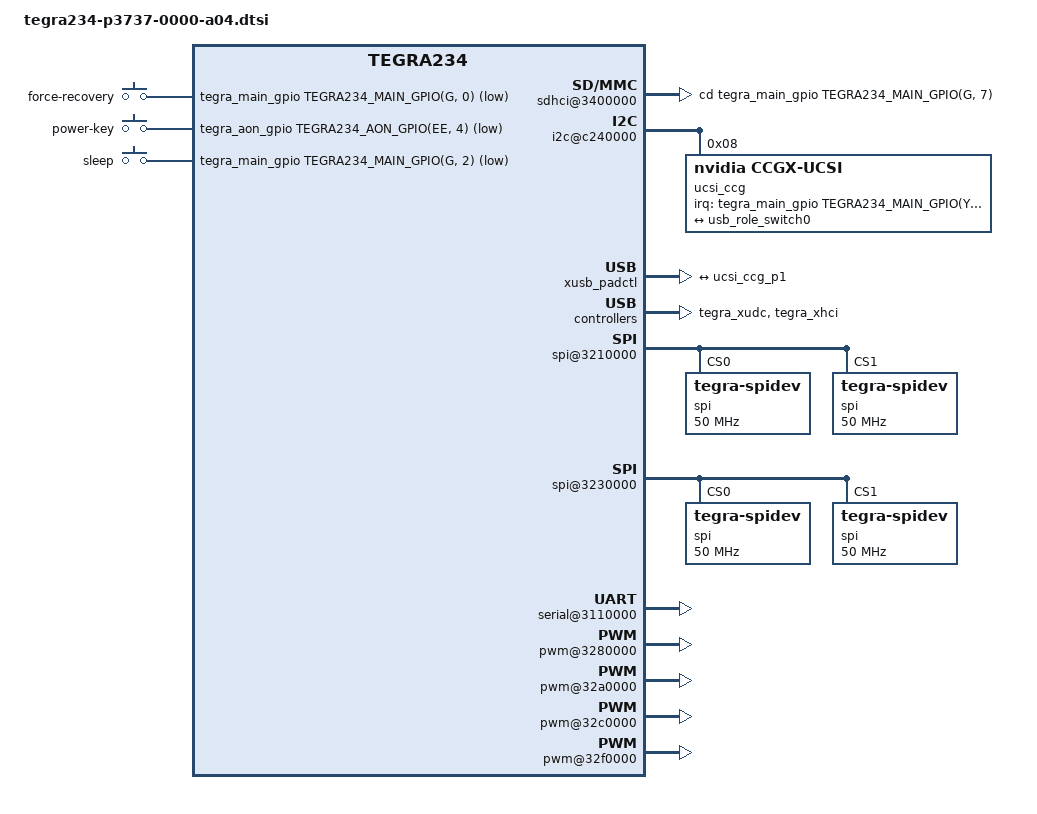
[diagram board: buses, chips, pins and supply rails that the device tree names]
/*
 * Copyright (c) 2021-2022, NVIDIA CORPORATION.  All rights reserved.
 *
 * This program is free software; you can redistribute it and/or modify
 * it under the terms of the GNU General Public License as published by
 * the Free Software Foundation; version 2 of the License.
 *
 * This program is distributed in the hope that it will be useful, but WITHOUT
 * ANY WARRANTY; without even the implied warranty of MERCHANTABILITY or
 * FITNESS FOR A PARTICULAR PURPOSE.  See the GNU General Public License for
 * more details.
 */
#include <dt-bindings/gpio/tegra234-gpio.h>
#include "dt-bindings/input/input.h"
#include "tegra234-pwm-fan.dtsi"
#include "tegra234-p3737-audio.dtsi"
#include "tegra234-p3737-fixed-regulator.dtsi"
#include "tegra234-ethernet-3737-0000.dtsi"
#include "tegra234-p3737-pcie.dtsi"
#include "tegra234-p3737-super-module-e2614.dtsi"

/ {
	gpio-keys {
		compatible = "gpio-keys";
		gpio-keys,name = "gpio-keys";
		status = "okay";

		forcerecovery {
			label = "force-recovery";
			gpios = <&tegra_main_gpio TEGRA234_MAIN_GPIO(G, 0) GPIO_ACTIVE_LOW>;
			linux,code = <BTN_1>;
		};

		power_key {
			label = "power-key";
			gpios = <&tegra_aon_gpio TEGRA234_AON_GPIO(EE, 4) GPIO_ACTIVE_LOW>;
			linux,code = <KEY_POWER>;
			gpio-key,wakeup;
		};

		sleep {
			label = "sleep";
			gpios = <&tegra_main_gpio TEGRA234_MAIN_GPIO(G, 2) GPIO_ACTIVE_LOW>;
			linux,code = <KEY_SLEEP>;
		};
	};

	soft_wdt:soft_watchdog {
		compatible = "softdog-platform";
		status = "okay";
	};

	eeprom-manager {
		data-size = <0x100>;
		bus@0 {
			i2c-bus = <&gen1_i2c>;
			eeprom@1 {
				slave-address = <0x56>;
				label = "cvb";
			};
		};

		bus@1 {
			i2c-bus = <&gen2_i2c>;
			eeprom@1 {
				slave-address = <0x50>;
				label = "super-module";
			};
		};

		bus@2 {
			i2c-bus = <&cam_i2c>;
			eeprom@0 {
				slave-address = <0x54>;
				label = "sensor0";
			};
			eeprom@1 {
				slave-address = <0x57>;
				label = "sensor1";
			};
			eeprom@2 {
				slave-address = <0x52>;
				label = "sensor2";
			};
		};

	};

	ufshci@2500000 {
		nvidia,enable-ufs-provisioning;
		status = "disabled";
	};

	sdhci@3400000 {
		disable-wp;
		no-sdio;
		nvidia,cd-wakeup-capable;
		no-mmc;
		nvidia,boot-detect-delay = <1000>;
		cd-gpios = <&tegra_main_gpio TEGRA234_MAIN_GPIO(G, 7) 0>;
		assigned-clocks = <&bpmp TEGRA234_CLK_SDMMC1>,
				  <&bpmp TEGRA234_CLK_PLLC4_MUXED>;
		assigned-clock-parents = <&bpmp TEGRA234_CLK_PLLC4_MUXED>,
					 <&bpmp TEGRA234_CLK_PLLC4_VCO_DIV2>;
		status = "okay";
	};

	i2c@c240000 {
		ucsi_ccg: ucsi_ccg@8 {
			status = "okay";
			compatible = "nvidia,ccgx-ucsi";
			ccgx,firmware-build = "gn";
			reg = <0x08>;
			interrupt-parent = <&tegra_main_gpio>;
			interrupts = <TEGRA234_MAIN_GPIO(Y, 4) IRQ_TYPE_LEVEL_LOW>;
			interrupt-names = "wakeup";
			wakeup-source;
			ccg_typec_con0: connector@0 {
				compatible = "usb-c-connector";
				label = "USB-C";
				data-role = "host";
			};
			ccg_typec_con1: connector@1 {
				compatible = "usb-c-connector";
				label = "USB-C";
				data-role = "dual";
				port {
					ucsi_ccg_p1: endpoint {
						remote-endpoint = <&usb_role_switch0>;
					};
				};
			};
		};

		ncp_12v_pcie_supply: ncp81599@74 {
			compatible = "nvidia,ncp81599";
			reg = <0x74>;
			regulator-name = "ncp81599";
			ncp81599-supply = <&p3737_vdd_5v_sys>;
			status = "disabled";
		};
	};

	xusb_padctl: xusb_padctl@3520000 {
		status = "okay";
		pads {
			usb2 {
				lanes {
					usb2-0 {
						nvidia,function = "xusb";
						status = "okay";
					};
					usb2-1 {
						nvidia,function = "xusb";
						status = "okay";
					};
					usb2-2 {
						nvidia,function = "xusb";
						status = "okay";
					};
					usb2-3 {
						nvidia,function = "xusb";
						status = "okay";
					};
				};
			};
			usb3 {
				lanes {
					usb3-0 {
						nvidia,function = "xusb";
						status = "okay";
					};
					usb3-1 {
						nvidia,function = "xusb";
						status = "okay";
					};
					usb3-2 {
						nvidia,function = "xusb";
						status = "okay";
					};
				};
			};
		};

		ports {
			usb2-0 {
				mode = "otg";
				usb-role-switch;
				status = "okay";
				port {
					usb_role_switch0: endpoint {
						remote-endpoint = <&ucsi_ccg_p1>;
					};
				};
			};
			usb2-1 {
				mode = "host";
				status = "okay";
			};
			usb2-2 {
				mode = "host";
				status = "okay";
			};
			usb2-3 {
				mode = "host";
				status = "okay";
			};
			usb3-0 {
				nvidia,usb2-companion = <1>;
				status = "okay";
			};
			usb3-1 {
				nvidia,usb2-companion = <0>;
				status = "okay";
			};
			usb3-2 {
				nvidia,usb2-companion = <3>;
				status = "okay";
			};
		};
	};

	tegra_xudc: xudc@3550000 {
		status = "okay";
		phys = <&{/xusb_padctl@3520000/pads/usb2/lanes/usb2-0}>,
			<&{/xusb_padctl@3520000/pads/usb3/lanes/usb3-1}>;
		phy-names = "usb2-0", "usb3-1";
		nvidia,xusb-padctl = <&xusb_padctl>;
		nvidia,boost_cpu_freq = <1200>;
	};

	tegra_xhci: xhci@3610000 {
		status = "okay";
		phys = <&{/xusb_padctl@3520000/pads/usb2/lanes/usb2-0}>,
			<&{/xusb_padctl@3520000/pads/usb2/lanes/usb2-1}>,
			<&{/xusb_padctl@3520000/pads/usb2/lanes/usb2-2}>,
			<&{/xusb_padctl@3520000/pads/usb2/lanes/usb2-3}>,
			<&{/xusb_padctl@3520000/pads/usb3/lanes/usb3-0}>,
			<&{/xusb_padctl@3520000/pads/usb3/lanes/usb3-1}>,
			<&{/xusb_padctl@3520000/pads/usb3/lanes/usb3-2}>;
		phy-names = "usb2-0", "usb2-1", "usb2-2", "usb2-3",
			"usb3-0", "usb3-1", "usb3-2";
		nvidia,xusb-padctl = <&xusb_padctl>;
	};

	spi@3210000{ /* SPI1 in 40 pin conn */
		status = "okay";
		spi@0 { /* chip select 0 */
			compatible = "tegra-spidev";
			reg = <0x0>;
			spi-max-frequency = <50000000>;
			controller-data {
				nvidia,enable-hw-based-cs;
				nvidia,rx-clk-tap-delay = <0x10>;
				nvidia,tx-clk-tap-delay = <0x0>;
			};
		};
		spi@1 { /* chip select 1 */
			compatible = "tegra-spidev";
			reg = <0x1>;
			spi-max-frequency = <50000000>;
			controller-data {
				nvidia,enable-hw-based-cs;
				nvidia,rx-clk-tap-delay = <0x10>;
				nvidia,tx-clk-tap-delay = <0x0>;
			};
		};
	};

	spi@3230000{ /* SPI3 in 40 pin conn */
		status = "okay";
		spi@0 { /* chip select 0 */
			compatible = "tegra-spidev";
			reg = <0x0>;
			spi-max-frequency = <50000000>;
			controller-data {
				nvidia,enable-hw-based-cs;
				nvidia,rx-clk-tap-delay = <0x10>;
				nvidia,tx-clk-tap-delay = <0x0>;
			};
		};
		spi@1 { /* chips select 1 */
			compatible = "tegra-spidev";
			reg = <0x1>;
			spi-max-frequency = <50000000>;
			controller-data {
				nvidia,enable-hw-based-cs;
				nvidia,rx-clk-tap-delay = <0x10>;
				nvidia,tx-clk-tap-delay = <0x0>;
			};
		};
	};

	gte@c1e0000 {
		status = "okay";
	};

	gpio@c2f0000 {
		/delete-property/ use-timestamp;
	};

	mttcan@c310000 {
		status = "okay";
	};

	mttcan@c320000 {
		status = "okay";
	};

	serial@3110000 {
		status = "okay";
	};

	tachometer@39c0000 {
		status = "okay";
		upper-threshold = <0xfffff>;
		lower-threshold = <0x0>;
	};

	pwm@3280000 {
		status = "okay";
	};

	pwm@32a0000 {
		status = "okay";
	};

	pwm@32c0000 {
		status = "okay";
	};

	pwm@32d0000 {
		status = "disabled";
	};

	pwm@32f0000 {
		status = "okay";
	};
	spi@c260000 {
		status = "disabled";
	};

	spi@3300000 {
		status = "disabled";
	};

	gpio@2200000 {
		/* gpio-name for 40-pin header, gpio-name given as COL(10) x ROW(24),
		   Tegra-GPIO starts from 348 */
		gpio-line-names = "",   "",     "",     "",     "",     "",     "",     "",     "",     "",
		"",     "",     "",     "",     "",     "",     "",     "",     "",     "",
		"",     "",     "",     "",     "",     "",     "",     "",     "",     "",
		"",     "",     "",     "",     "",     "",     "",     "",     "",     "",
		"",     "",     "",     "",     "",     "",     "",     "",     "",     "",
		"",     "",     "",     "",     "",     "",     "GPIO35",     "",     "",     "",
		"",     "",     "",     "I2S2_SCLK",     "I2S2_DOUT",     "I2S2_DIN",     "I2S2_FS",     "",     "",     "",
		"",     "",     "",     "",     "",     "",     "",     "",     "",     "",
		"",     "",     "",     "",     "",     "",     "",     "",     "",     "",
		"",     "",     "",     "",     "",     "",     "",     "",     "",     "",
		"",     "",     "",     "",     "",     "GPIO27",     "",     "",     "",     "",
		"",     "",     "",     "",     "",     "",     "GPIO17",     "",     "",     "",
		"",     "",     "",     "",     "",     "",     "MCLK05",     "",     "PWM01",     "",
		"",     "",     "",     "",     "",     "",     "",     "",     "",     "",
		"",     "",     "",     "",     "",     "",     "",     "",     "",     "",
		"",     "",     "",     "",     "",     "SPI1_CLK",     "SPI1_MISO",     "SPI1_MOSI",     "SPI1_CS0_N",     "SPI1_CS1_N",
		"",     "",     "",     "";
	};

	gpio@c2f0000 {
		/* gpio-name for 40-pin header, gpio-name given as COL(10) x ROW(2),
		   Tegra-AON-GPIO starts from 316 */
		gpio-line-names = "CAN0_DOUT",   "CAN0_DIN",     "CAN1_DOUT",     "CAN1_DIN",     "",     "",     "",     "",     "GPIO09",     "GPIO08",
		"",     "",     "",     "",     "",     "",     "",     "",     "",     "";
	};
};
